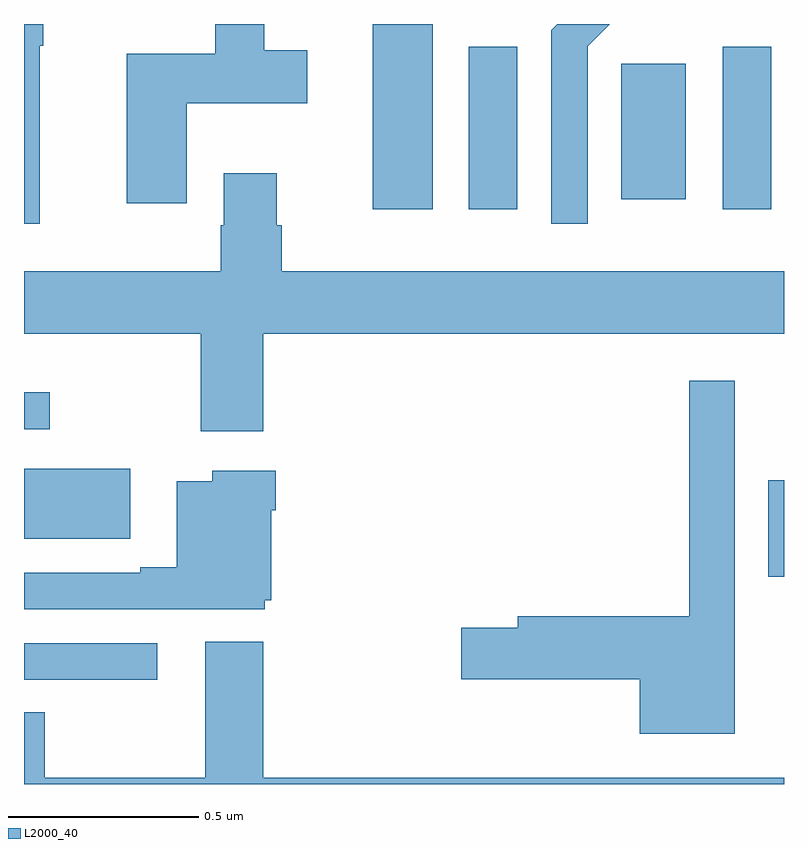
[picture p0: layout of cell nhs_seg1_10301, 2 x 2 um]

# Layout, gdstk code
import gdstk
lib = gdstk.Library(unit=1e-6, precision=1e-09)
def R(c, l, rs):  # rectangles x0, y0, x1, y1
    for r in rs: c.add(gdstk.rectangle(r[:2], r[2:], *l))
def P(c, l, *ps):  # polygons
    for p in ps: c.add(gdstk.Polygon(p, *l))
L2000_40 = (2000, 40)

nhs_seg1_10301 = lib.new_cell('nhs_seg1_10301')
R(nhs_seg1_10301, L2000_40, [(239,565.473,239.35,565.569), (240.959,565.745,241,565.999), (239,566.133,239.068,566.23), (239.918,566.712,240.076,567.199), (240.17,566.712,240.298,567.139), (240.839,566.712,240.967,567.139), (240.572,566.738,240.742,567.094)])
P(nhs_seg1_10301, L2000_40, [(240.483,567.141),(240.541,567.199),(240.403,567.199),(240.387,567.183),(240.387,566.673),(240.483,566.673)],
  [(239.428,566.99),(239.746,566.99),(239.746,567.13),(239.632,567.13),(239.632,567.199),(239.503,567.199),(239.503,567.121),(239.27,567.121),(239.27,566.727),(239.428,566.727)],
  [(239.041,567.142),(239.051,567.142),(239.051,567.199),(239,567.199),(239,566.673),(239.041,566.673)],
  [(239.63,566.384),(241,566.384),(241,566.548),(239.678,566.548),(239.678,566.669),(239.665,566.669),(239.665,566.806),(239.525,566.806),(239.525,566.669),(239.518,566.669),(239.518,566.548),(239,566.548),(239,566.384),(239.465,566.384),(239.465,566.127),(239.63,566.127)],
  [(240.871,566.26),(240.75,566.26),(240.75,565.64),(240.299,565.64),(240.299,565.61),(240.15,565.61),(240.15,565.475),(240.62,565.475),(240.62,565.331),(240.871,565.331)],
  [(239.177,565.845),(239.28,565.845),(239.28,566.029),(239,566.029),(239,565.844),(239.177,565.844)],
  [(239.634,565.683),(239.65,565.683),(239.65,565.919),(239.663,565.919),(239.663,566.023),(239.496,566.023),(239.496,565.996),(239.402,565.996),(239.402,565.769),(239.306,565.769),(239.306,565.755),(239,565.755),(239,565.659),(239.634,565.659)],
  [(241,565.216),(239.63,565.216),(239.63,565.573),(239.477,565.573),(239.477,565.216),(239.055,565.216),(239.055,565.388),(239,565.388),(239,565.199),(241,565.199)])

lib.write_gds('nhs_seg1_10301.gds')
